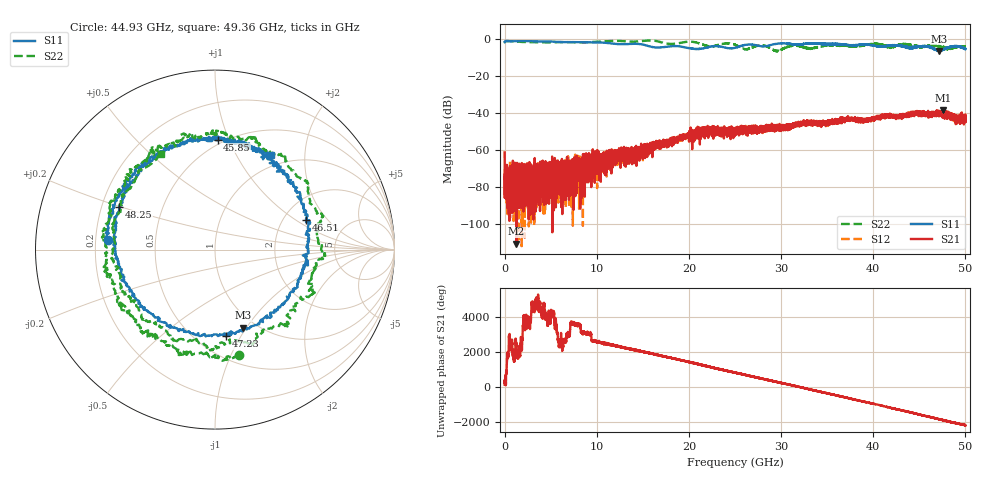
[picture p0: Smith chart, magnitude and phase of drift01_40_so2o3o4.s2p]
!Created with skrf (http://scikit-rf.org).
# Hz S RI R 50.0
!freq ReS11 ImS11 ReS21 ImS21 ReS12 ImS12 ReS22 ImS22
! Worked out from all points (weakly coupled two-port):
!   10001 points, 300 kHz to 50 GHz, reference 50 ohm
!   highest |S21| = -38.51 dB at 47.59 GHz (marker M1); lowest = -110.7 dB at 1.29 GHz (marker M2)
!   lowest |S11| = -6.7 dB at 47.15 GHz (marker M3), VSWR 2.71, Z = 43.6 - j48 ohm
!   |S11| at or under -10 dB: nowhere
!   |S22| runs from -6.8 to -1.0 dB; largest |S21 - S12| = 0.0043
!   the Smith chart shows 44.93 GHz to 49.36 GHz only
!   S11 on the Smith chart (normalised r, x): 44.93 GHz: 0.25, +0.04; 45.85 GHz: 0.46, +0.91; 46.51 GHz: 2.63, +1.23; 47.23 GHz: 0.68, -0.87; 48.25 GHz: 0.27, +0.20; 49.36 GHz: 0.83, +1.40
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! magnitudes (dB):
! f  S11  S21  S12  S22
! 300 kHz  -2.0  -61.5  -75.3  -1.3
! 260.3 MHz  -1.4  -74.6  -72.8  -1.4
! 1.29 GHz  -1.4  -110.7  -76.2  -1.7
! 6.31 GHz  -1.9  -77.6  -74.2  -1.9
! 8.335 GHz  -1.9  -67.1  -70.3  -2.1
! 16.67 GHz  -4.8  -57.1  -57.4  -1.6
! 21.67 GHz  -5.2  -52.4  -48.3  -3.6
! 25 GHz  -5.0  -49.3  -50.0  -3.4
! 28.11 GHz  -4.3  -49.4  -49.0  -3.8
! 29.52 GHz  -2.8  -49.3  -48.4  -6.7
! 31.29 GHz  -3.1  -46.5  -47.1  -4.0
! 33.34 GHz  -2.6  -44.6  -45.1  -5.4
! 41.67 GHz  -3.9  -42.0  -41.6  -4.6
! 44.93 GHz  -4.4  -40.1  -40.7  -4.4
! 45.85 GHz  -4.3  -41.4  -41.1  -4.3
! 46.51 GHz  -5.5  -39.5  -40.6  -3.9
! 47.15 GHz  -6.7  -40.9  -39.6  -4.0
! 47.23 GHz  -6.3  -39.4  -40.2  -4.4
! 47.59 GHz  -6.0  -38.5  -40.1  -4.9
! 48.25 GHz  -4.7  -42.6  -41.3  -5.2
! 49.36 GHz  -4.3  -42.0  -43.9  -4.3
! 50 GHz  -5.6  -44.8  -42.3  -4.2
